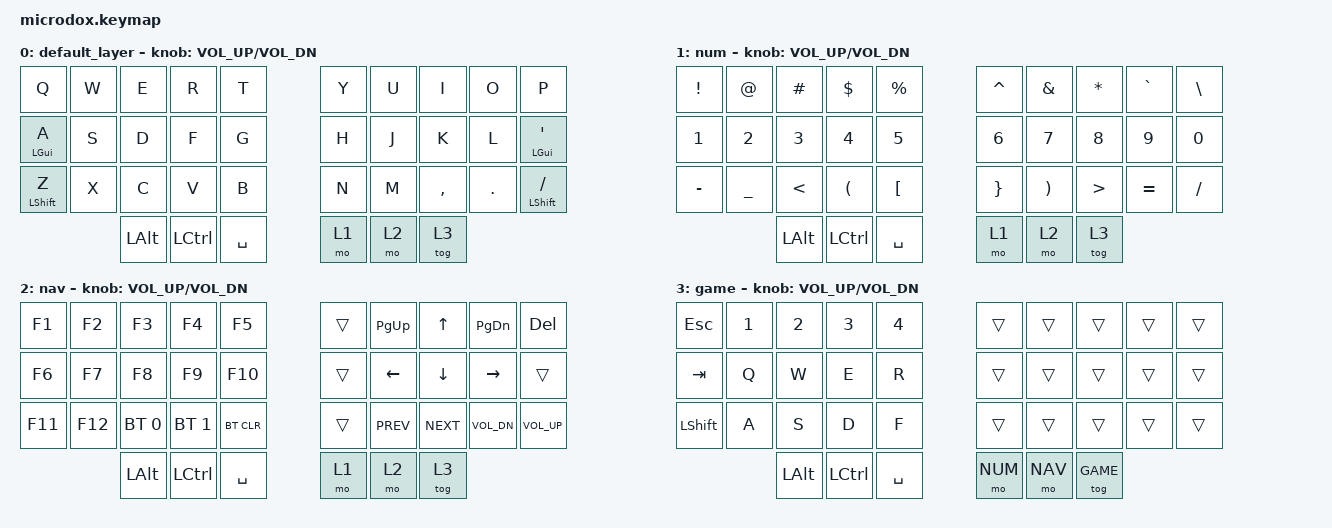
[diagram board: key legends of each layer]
/*
 * Copyright (c) 2020 The ZMK Contributors
 *
 * SPDX-License-Identifier: MIT
 */

#include <behaviors.dtsi>
#include <dt-bindings/zmk/keys.h>
#include <dt-bindings/zmk/bt.h>
#include <dt-bindings/zmk/rgb.h>

#define DEFAULT 0
#define NUM     1
#define NAV     2
#define GAME    3

/ {
    left_encoder: encoder_left {
        compatible = "alps,ec11";
        label = "LEFT_ENCODER";
        a-gpios = <&pro_micro_d 4 (GPIO_ACTIVE_HIGH | GPIO_PULL_UP)>;
        b-gpios = <&pro_micro_d 5 (GPIO_ACTIVE_HIGH | GPIO_PULL_UP)>;
        resolution = <4>;
    };
};

/ {
    behaviors {
        rst: boot_reset 
        {
            compatible = "zmk,behavior-hold-tap";
            label = "Bootloader Tap - Reset Hold";
            #binding-cells = <2>;
            tapping_term_ms = <200>;
            flavor = "balanced";
            bindings = <&reset>, <&bootloader>;
        };

        hm: homerow_mods0 
        {
            compatible = "zmk,behavior-hold-tap";
            label = "homerow mods";
            #binding-cells = <2>;
            tapping_term_ms = <205>;
            flavor = "tap-preferred";
            bindings = <&kp>, <&kp>;
        };

        hm1: homerow_mods1 
        {
            compatible = "zmk,behavior-hold-tap";
            label = "homerow mods 2";
            #binding-cells = <2>;
            tapping_term_ms = <250>;
            flavor = "tap-preferred";
            bindings = <&kp>, <&kp>;
        };
     };
};

/ {
    combos {
        compatible = "zmk,combos";
        
        combo_backspce {
            timeout-ms = <40>;
            key-positions = <8 9>;
            bindings = <&kp BSPC>;
        };
        combo_gesc 
        {
            timeout-ms = <30>;
            key-positions = <0 1>;
            bindings = <&kp ESC>;
        };
        combo_tab 
        {
            timeout-ms = <35>;
            key-positions = <11 13>;
            bindings = <&kp TAB>;
        };
        combo_enter
        {
            timeout-ms = <40>;
            key-positions = <16 18>;
            bindings = <&kp RET>;
        };
        combo_semicolon 
        {
            timeout-ms = <40>;
            key-positions = <18 19>;
            bindings = <&kp SEMI>;
        };
    
    };
};


/ {
    sensors {
        compatible = "zmk,keymap-sensors";
        sensors = <&left_encoder>;
    };
};


/ {
        keymap {
                compatible = "zmk,keymap";

                default_layer {
// -----------------------------------------------------------------------------------------
// |  Q  |  W  |  E  |  R   |  T  |   |  Y  |  U  |  I   |  O  |  P  |
// |  A  |  S  |  D  |  F   |  G  |   |  H  |  J  |  K   |  L  |  ;  |
// |  Z  |  X  |  C  |  V   |  B  |   |  N  |  M  |  ,   |  .  |  /  |
//             | ALT | CTRL | SPC |   | NUM | NAV | GAME |
                        bindings = <
   &kp Q        &kp W  &kp E     &kp R      &kp T      &kp Y  &kp U  &kp I     &kp O   &kp P
   &hm1 LGUI A  &kp S  &kp D     &kp F      &kp G      &kp H  &kp J  &kp K     &kp L   &hm1 LGUI APOS
   &hm LSHFT Z  &kp X  &kp C     &kp V      &kp B      &kp N  &kp M  &kp COMMA &kp DOT &hm LSHFT FSLH
                       &kp LALT  &kp LCTRL  &kp SPACE  &mo 1  &mo 2  &tog 3
                        >;
                                sensor-bindings = <&inc_dec_kp C_VOL_UP C_VOL_DN>;
                };


                num {
// -----------------------------------------------------------------------------------------
// |  !  |  @  |  #  |  $   |  %  |   |  ^  |  &  |  *   |  `  | "|" |
// |  1  |  2  |  3  |  4   |  5  |   |  6  |  7  |  8   |  9  |  0  |
// |  -  |  _  |  <  |  (   |  [  |   |  ]  |  )  |  >   |  =  |  /  |
//             | ALT | CTRL | SPC |   | NUM | NAV | GAME |
                        bindings = <
   &kp EXCL  &kp AT    &kp HASH  &kp DLLR  &kp PRCNT   &kp CARET &kp AMPS  &kp ASTRK  &kp GRAVE  &kp BSLH
   &kp N1    &kp N2    &kp N3    &kp N4    &kp N5      &kp N6    &kp N7    &kp N8     &kp N9     &kp N0 
   &kp MINUS &kp UNDER &kp LT    &kp LPAR  &kp LBKT    &kp RBRC  &kp RPAR  &kp GT     &kp EQUAL  &kp FSLH
                       &kp LALT  &kp LCTRL &kp SPACE   &mo 1     &mo 2     &tog 3
                        >;
                                sensor-bindings = <&inc_dec_kp C_VOL_UP C_VOL_DN>;
                };


                nav {
// -----------------------------------------------------------------------------------------
// | F1  | F2  | F3  | F4   | F5     |   |     | PGUP |  UP  | PGDN    | DEL    |
// | F6  | F7  | F8  | F9   | F10    |   |     | LEFT | DOWN | RGT    |        |
// | F11 | F12 | BT1 | BT2  | BT_CLR |   |     | PREV | NEXT | VOL_DN | VOL_UP |
//             | ALT | CTRL | SPC    |   | NUM | NAV  | GAME |
                        bindings = <
   &kp F1   &kp F2   &kp F3       &kp F4       &kp F5       &trans   &kp PG_UP   &kp UP     &kp PG_DN     &kp DEL
   &kp F6   &kp F7   &kp F8       &kp F9       &kp F10      &trans   &kp LEFT    &kp DOWN   &kp RIGHT     &trans
   &kp F11  &kp F12  &bt BT_SEL 0 &bt BT_SEL 1 &bt BT_CLR   &trans   &kp C_PREV  &kp C_NEXT &kp C_VOL_DN  &kp C_VOL_UP
                     &kp LALT     &kp LCTRL    &kp SPACE    &mo 1    &mo 2       &tog 3
                        >;
                                sensor-bindings = <&inc_dec_kp C_VOL_UP C_VOL_DN>;
                };


                game {
// -----------------------------------------------------------------------------------------
// | ESC  |  1  |  2  |  3   |  4  |   |     |     |      |     |     |
// | TAB  |  Q  |  W  |  E   |  R  |   |     |     |      |     |     |
// | SHFT |  A  |  S  |  D   |  F  |   |     |     |      |     |     |
//              | ALT | CTRL | SPC |   | NUM | NAV | GAME |
                        bindings = <
   &kp ESC    &kp N1   &kp N2    &kp N3     &kp N4      &trans   &trans   &trans   &trans   &trans
   &kp TAB    &kp Q    &kp W     &kp E      &kp R       &trans   &trans   &trans   &trans   &trans
   &kp LSHFT  &kp A    &kp S     &kp D      &kp F       &trans   &trans   &trans   &trans   &trans
                       &kp LALT  &kp LCTRL  &kp SPACE   &mo NUM    &mo NAV    &tog GAME
                        >;
                                sensor-bindings = <&inc_dec_kp C_VOL_UP C_VOL_DN>;
                };
        };
};
